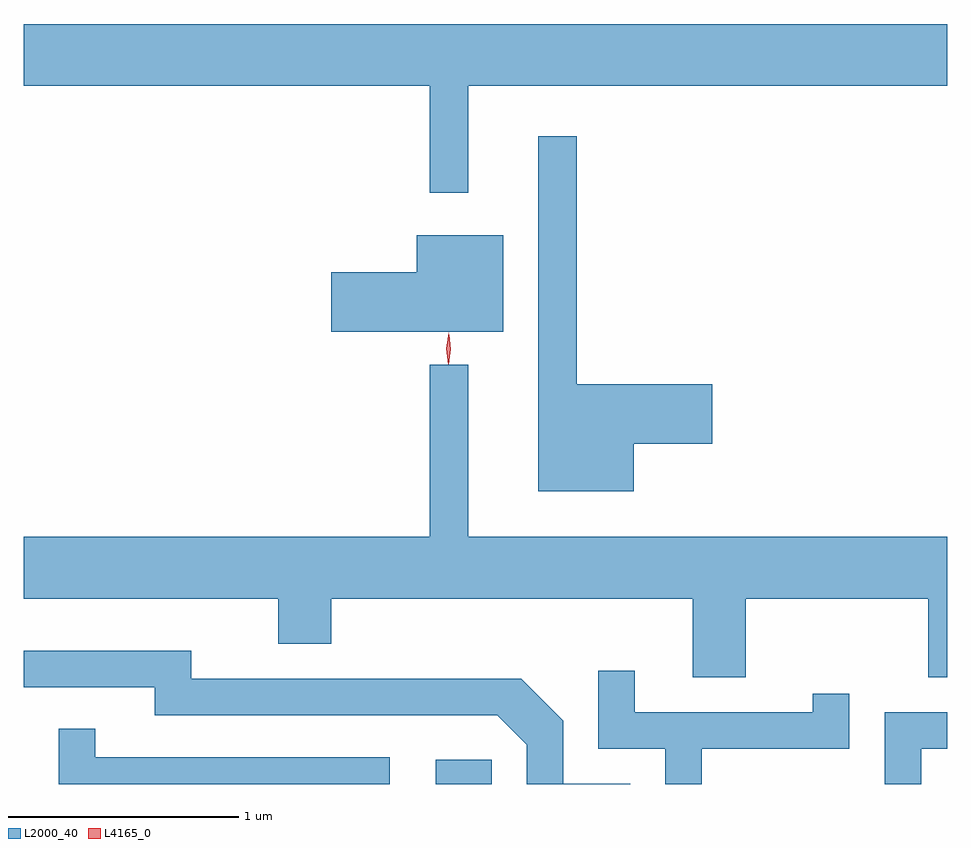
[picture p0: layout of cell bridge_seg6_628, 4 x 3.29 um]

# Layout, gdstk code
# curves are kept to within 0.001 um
import gdstk
lib = gdstk.Library(unit=1e-6, precision=1e-09)
def R(c, l, rs):  # rectangles x0, y0, x1, y1
    for r in rs: c.add(gdstk.rectangle(r[:2], r[2:], *l))
def P(c, l, *ps):  # polygons
    for p in ps: c.add(gdstk.Polygon(p, *l))
L2000_40 = (2000, 40)
L4165_0 = (4165, 0)

bridge_seg6_628 = lib.new_cell('bridge_seg6_628')
R(bridge_seg6_628, L2000_40, [(317.868,1611.393,318.109,1611.499)])
P(bridge_seg6_628, L2000_40, [(318.009,1614.416),(320.083,1614.416),(320.083,1614.684),(316.083,1614.684),(316.083,1614.416),(317.841,1614.416),(317.841,1613.953),(318.009,1613.953)],
  [(318.724,1612.866),(319.064,1612.866),(319.064,1613.124),(318.479,1613.124),(318.479,1614.198),(318.311,1614.198),(318.311,1612.661),(318.724,1612.661)],
  [(318.159,1613.769),(317.786,1613.769),(317.786,1613.609),(317.416,1613.609),(317.416,1613.351),(318.159,1613.351)],
  [(319.209,1612.196),(320.001,1612.196),(320.001,1611.856),(320.083,1611.856),(320.083,1612.464),(318.009,1612.464),(318.009,1613.208),(317.841,1613.208),(317.841,1612.464),(316.083,1612.464),(316.083,1612.196),(317.186,1612.196),(317.186,1612.001),(317.414,1612.001),(317.414,1612.196),(318.981,1612.196),(318.981,1611.856),(319.209,1611.856)],
  [(318.709,1611.394),(318.419,1611.394),(318.419,1611.667),(318.237,1611.849),(316.809,1611.849),(316.809,1611.969),(316.083,1611.969),(316.083,1611.811),(316.651,1611.811),(316.651,1611.691),(318.134,1611.691),(318.261,1611.564),(318.261,1611.393)],
  [(319.019,1611.546),(319.659,1611.546),(319.659,1611.783),(319.501,1611.783),(319.501,1611.704),(318.729,1611.704),(318.729,1611.883),(318.571,1611.883),(318.571,1611.546),(318.861,1611.546),(318.861,1611.393),(319.019,1611.393)],
  [(319.969,1611.546),(320.083,1611.546),(320.083,1611.704),(319.811,1611.704),(319.811,1611.393),(319.969,1611.393)],
  [(317.668,1611.509),(316.394,1611.509),(316.394,1611.633),(316.236,1611.633),(316.236,1611.393),(317.668,1611.393)])
P(bridge_seg6_628, L4165_0, [(317.922,1613.21),(317.922,1613.21),(317.913,1613.278),(317.923,1613.346),(317.924,1613.346),(317.924,1613.346),(317.933,1613.278),(317.923,1613.21)],
  [(317.922,1613.213),(317.922,1613.214),(317.913,1613.277),(317.924,1613.339),(317.924,1613.34),(317.925,1613.339),(317.933,1613.276),(317.923,1613.214)])

lib.write_gds('bridge_seg6_628.gds')
